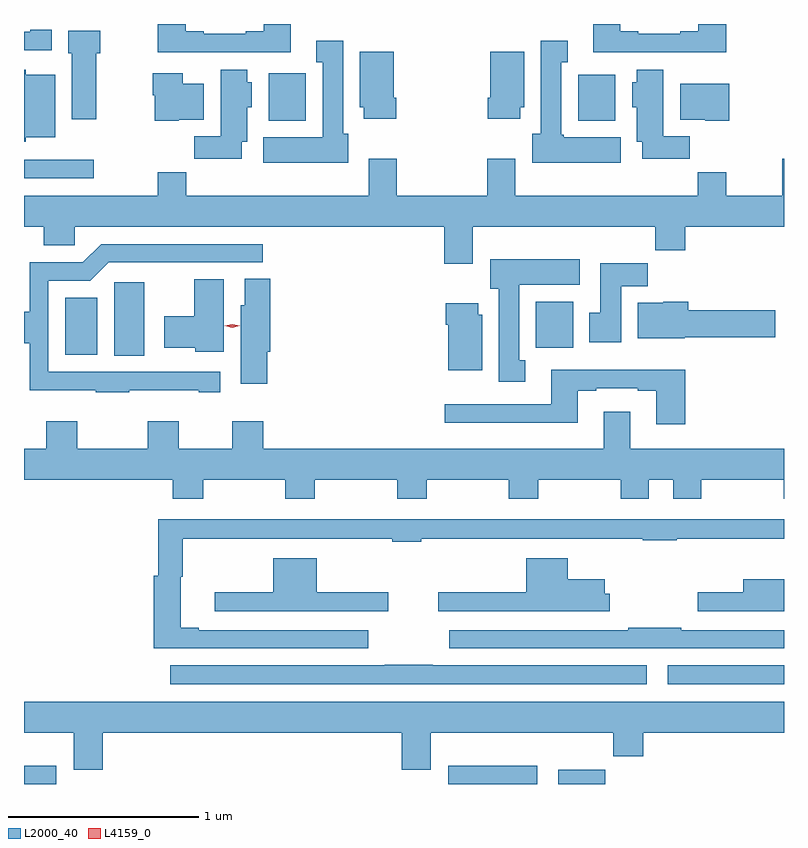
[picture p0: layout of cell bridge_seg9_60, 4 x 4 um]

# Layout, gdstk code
import gdstk
lib = gdstk.Library(unit=1e-6, precision=1e-09)
def R(c, l, rs):  # rectangles x0, y0, x1, y1
    for r in rs: c.add(gdstk.rectangle(r[:2], r[2:], *l))
def P(c, l, *ps):  # polygons
    for p in ps: c.add(gdstk.Polygon(p, *l))
L2000_40 = (2000, 40)
L4159_0 = (4159, 0)

bridge_seg9_60 = lib.new_cell('bridge_seg9_60')
R(bridge_seg9_60, L2000_40, [(1090.184,1208.139,1090.354,1208.236), (1092.416,1208.139,1092.886,1208.236), (1092.995,1208.139,1093.244,1208.215), (1093.572,1208.663,1094.184,1208.764), (1090.658,1210.393,1090.816,1210.78), (1090.4,1210.397,1090.57,1210.699), (1092.878,1210.436,1093.075,1210.678), (1090.184,1211.328,1090.552,1211.424), (1091.471,1211.63,1091.667,1211.881), (1093.1,1211.63,1093.297,1211.872)])
P(bridge_seg9_60, L2000_40, [(1093.881,1212.139),(1093.733,1212.139),(1093.733,1212.1),(1093.637,1212.1),(1093.637,1212.087),(1093.417,1212.087),(1093.417,1212.1),(1093.321,1212.1),(1093.321,1212.139),(1093.181,1212.139),(1093.181,1211.991),(1093.641,1211.991),(1093.641,1211.99),(1093.881,1211.99)],
  [(1091.587,1212.139),(1091.447,1212.139),(1091.447,1212.1),(1091.351,1212.1),(1091.351,1212.087),(1091.131,1212.087),(1091.131,1212.1),(1091.035,1212.1),(1091.035,1212.139),(1090.888,1212.139),(1090.888,1211.991),(1091.587,1211.991)],
  [(1090.33,1212.109),(1090.217,1212.109),(1090.217,1212.097),(1090.184,1212.097),(1090.184,1212),(1090.33,1212)],
  [(1090.564,1211.985),(1090.584,1211.985),(1090.584,1212.103),(1090.418,1212.103),(1090.418,1211.985),(1090.436,1211.985),(1090.436,1211.637),(1090.564,1211.637)],
  [(1091.89,1211.562),(1091.863,1211.562),(1091.863,1212.052),(1091.723,1212.052),(1091.723,1211.939),(1091.756,1211.939),(1091.756,1211.542),(1091.444,1211.542),(1091.444,1211.408),(1091.89,1211.408)],
  [(1093.324,1211.542),(1093.026,1211.542),(1093.026,1211.556),(1093.012,1211.556),(1093.012,1211.939),(1093.045,1211.939),(1093.045,1212.052),(1092.905,1212.052),(1092.905,1211.562),(1092.86,1211.562),(1092.86,1211.408),(1093.324,1211.408)],
  [(1092.796,1211.7),(1092.817,1211.7),(1092.817,1211.992),(1092.638,1211.992),(1092.638,1211.752),(1092.626,1211.752),(1092.626,1211.64),(1092.796,1211.64)],
  [(1092.143,1211.752),(1092.13,1211.752),(1092.13,1211.992),(1091.951,1211.992),(1091.951,1211.7),(1091.972,1211.7),(1091.972,1211.64),(1092.143,1211.64)],
  [(1091.329,1211.519),(1091.359,1211.519),(1091.359,1211.7),(1091.383,1211.7),(1091.383,1211.832),(1091.359,1211.832),(1091.359,1211.899),(1091.219,1211.899),(1091.219,1211.548),(1091.08,1211.548),(1091.08,1211.43),(1091.329,1211.43)],
  [(1093.688,1211.548),(1093.549,1211.548),(1093.549,1211.899),(1093.409,1211.899),(1093.409,1211.832),(1093.385,1211.832),(1093.385,1211.7),(1093.409,1211.7),(1093.409,1211.519),(1093.439,1211.519),(1093.439,1211.43),(1093.688,1211.43)],
  [(1090.194,1211.543),(1090.348,1211.543),(1090.348,1211.872),(1090.194,1211.872),(1090.194,1211.899),(1090.184,1211.899),(1090.184,1211.519),(1090.194,1211.519)],
  [(1090.998,1211.636),(1091.131,1211.636),(1091.131,1211.824),(1091.02,1211.824),(1091.02,1211.881),(1090.862,1211.881),(1090.862,1211.763),(1090.873,1211.763),(1090.873,1211.63),(1090.998,1211.63)],
  [(1093.896,1211.824),(1093.637,1211.824),(1093.637,1211.636),(1093.77,1211.636),(1093.77,1211.63),(1093.896,1211.63)],
  [(1092.769,1211.431),(1092.622,1211.431),(1092.622,1211.236),(1092.147,1211.236),(1092.147,1211.431),(1091.999,1211.431),(1091.999,1211.236),(1091.039,1211.236),(1091.039,1211.36),(1090.888,1211.36),(1090.888,1211.236),(1090.184,1211.236),(1090.184,1211.072),(1090.289,1211.072),(1090.289,1210.974),(1090.452,1210.974),(1090.452,1211.072),(1092.395,1211.072),(1092.395,1210.878),(1092.547,1210.878),(1092.547,1211.072),(1093.507,1211.072),(1093.507,1210.948),(1093.664,1210.948),(1093.664,1211.072),(1094.184,1211.072),(1094.184,1211.431),(1094.176,1211.431),(1094.176,1211.236),(1093.881,1211.236),(1093.881,1211.36),(1093.729,1211.36),(1093.729,1211.236),(1092.769,1211.236)],
  [(1090.739,1210.211),(1091.105,1210.211),(1091.105,1210.2),(1091.218,1210.2),(1091.218,1210.308),(1090.311,1210.308),(1090.311,1210.788),(1090.533,1210.788),(1090.629,1210.884),(1091.44,1210.884),(1091.44,1210.98),(1090.59,1210.98),(1090.494,1210.884),(1090.214,1210.884),(1090.214,1210.624),(1090.184,1210.624),(1090.184,1210.46),(1090.215,1210.46),(1090.215,1210.211),(1090.561,1210.211),(1090.561,1210.2),(1090.739,1210.2)],
  [(1092.823,1210.37),(1092.79,1210.37),(1092.79,1210.766),(1093.108,1210.766),(1093.108,1210.9),(1092.638,1210.9),(1092.638,1210.746),(1092.683,1210.746),(1092.683,1210.257),(1092.823,1210.257)],
  [(1093.327,1210.76),(1093.466,1210.76),(1093.466,1210.879),(1093.217,1210.879),(1093.217,1210.62),(1093.16,1210.62),(1093.16,1210.464),(1093.327,1210.464)],
  [(1091.465,1210.413),(1091.48,1210.413),(1091.48,1210.798),(1091.345,1210.798),(1091.345,1210.659),(1091.324,1210.659),(1091.324,1210.245),(1091.465,1210.245)],
  [(1091.236,1210.795),(1091.081,1210.795),(1091.081,1210.6),(1090.923,1210.6),(1090.923,1210.436),(1091.085,1210.436),(1091.085,1210.415),(1091.236,1210.415)],
  [(1093.662,1210.49),(1094.137,1210.49),(1094.137,1210.632),(1093.679,1210.632),(1093.679,1210.678),(1093.548,1210.678),(1093.548,1210.672),(1093.415,1210.672),(1093.415,1210.484),(1093.662,1210.484)],
  [(1092.595,1210.608),(1092.574,1210.608),(1092.574,1210.669),(1092.404,1210.669),(1092.404,1210.556),(1092.416,1210.556),(1092.416,1210.316),(1092.595,1210.316)],
  [(1093.664,1210.318),(1092.959,1210.318),(1092.959,1210.137),(1092.399,1210.137),(1092.399,1210.04),(1093.099,1210.04),(1093.099,1210.209),(1093.195,1210.209),(1093.195,1210.221),(1093.415,1210.221),(1093.415,1210.209),(1093.511,1210.209),(1093.511,1210.032),(1093.664,1210.032)],
  [(1090.301,1210.048),(1090.301,1209.904),(1090.184,1209.904),(1090.184,1209.74),(1090.967,1209.74),(1090.967,1209.641),(1091.127,1209.641),(1091.127,1209.74),(1091.56,1209.74),(1091.56,1209.641),(1091.715,1209.641),(1091.715,1209.74),(1092.148,1209.74),(1092.148,1209.641),(1092.303,1209.641),(1092.303,1209.74),(1092.736,1209.74),(1092.736,1209.641),(1092.891,1209.641),(1092.891,1209.74),(1093.324,1209.74),(1093.324,1209.641),(1093.471,1209.641),(1093.471,1209.74),(1093.601,1209.74),(1093.601,1209.641),(1093.749,1209.641),(1093.749,1209.74),(1094.182,1209.74),(1094.182,1209.641),(1094.184,1209.641),(1094.184,1209.904),(1093.375,1209.904),(1093.375,1210.099),(1093.235,1210.099),(1093.235,1209.904),(1091.443,1209.904),(1091.443,1210.048),(1091.279,1210.048),(1091.279,1209.904),(1090.999,1209.904),(1090.999,1210.048),(1090.835,1210.048),(1090.835,1209.904),(1090.465,1209.904),(1090.465,1210.048)],
  [(1091.995,1208.949),(1091.104,1208.949),(1091.104,1208.962),(1091.008,1208.962),(1091.008,1209.231),(1091.02,1209.231),(1091.02,1209.429),(1091.399,1209.429),(1091.399,1209.431),(1091.821,1209.431),(1091.821,1209.429),(1092.121,1209.429),(1092.121,1209.414),(1092.276,1209.414),(1092.276,1209.429),(1092.731,1209.429),(1092.731,1209.431),(1093.441,1209.431),(1093.441,1209.421),(1093.619,1209.421),(1093.619,1209.429),(1093.796,1209.429),(1093.796,1209.431),(1094.184,1209.431),(1094.184,1209.532),(1090.891,1209.532),(1090.891,1209.235),(1090.868,1209.235),(1090.868,1208.853),(1091.995,1208.853)],
  [(1093.267,1209.141),(1093.24,1209.141),(1093.24,1209.217),(1093.045,1209.217),(1093.045,1209.328),(1092.827,1209.328),(1092.827,1209.149),(1092.363,1209.149),(1092.363,1209.048),(1092.931,1209.048),(1092.931,1209.047),(1093.267,1209.047)],
  [(1092.1,1209.149),(1091.725,1209.149),(1091.725,1209.328),(1091.495,1209.328),(1091.495,1209.149),(1091.187,1209.149),(1091.187,1209.048),(1092.1,1209.048)],
  [(1094.184,1209.217),(1093.97,1209.217),(1093.97,1209.149),(1093.731,1209.149),(1093.731,1209.048),(1094.184,1209.048)],
  [(1094.184,1208.949),(1093.643,1208.949),(1093.643,1208.962),(1093.363,1208.962),(1093.363,1208.949),(1092.423,1208.949),(1092.423,1208.853),(1094.184,1208.853)],
  [(1093.462,1208.764),(1092.335,1208.764),(1092.335,1208.767),(1092.082,1208.767),(1092.082,1208.764),(1090.953,1208.764),(1090.953,1208.663),(1093.462,1208.663)],
  [(1090.598,1208.408),(1092.173,1208.408),(1092.173,1208.214),(1092.325,1208.214),(1092.325,1208.408),(1093.285,1208.408),(1093.285,1208.284),(1093.442,1208.284),(1093.442,1208.408),(1094.184,1208.408),(1094.184,1208.572),(1090.184,1208.572),(1090.184,1208.408),(1090.445,1208.408),(1090.445,1208.214),(1090.598,1208.214)])
P(bridge_seg9_60, L4159_0, [(1091.28,1210.54),(1091.24,1210.55),(1091.24,1210.55),(1091.24,1210.551),(1091.28,1210.56),(1091.319,1210.551),(1091.319,1210.55),(1091.319,1210.55)])

lib.write_gds('bridge_seg9_60.gds')
